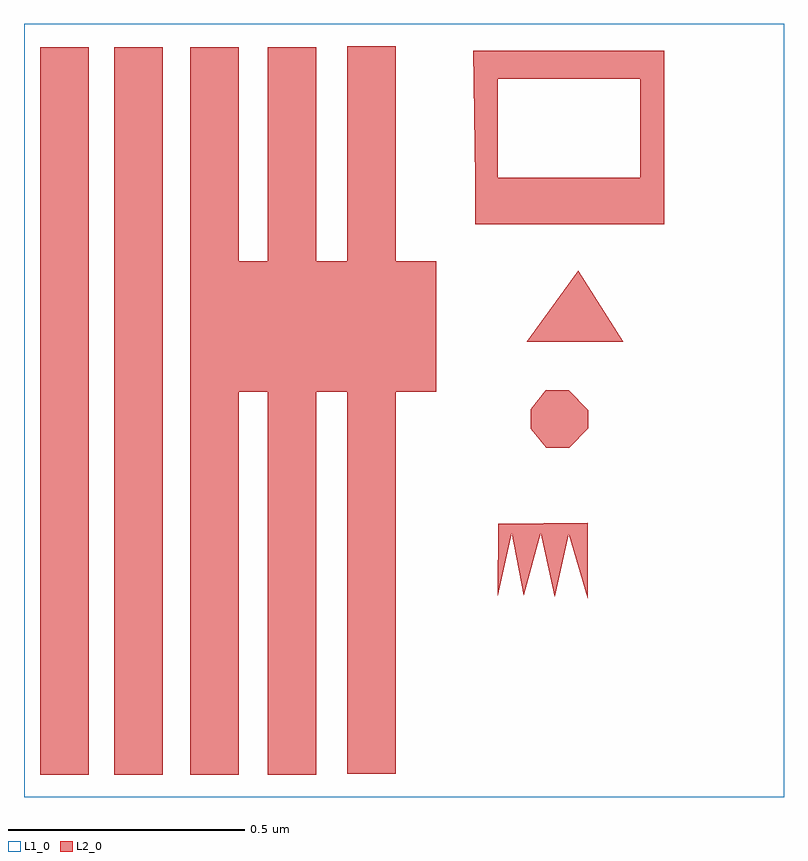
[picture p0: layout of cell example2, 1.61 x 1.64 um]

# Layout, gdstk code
import gdstk
lib = gdstk.Library(unit=1e-6, precision=1e-09)
def R(c, l, rs):  # rectangles x0, y0, x1, y1
    for r in rs: c.add(gdstk.rectangle(r[:2], r[2:], *l))
def P(c, l, *ps):  # polygons
    for p in ps: c.add(gdstk.Polygon(p, *l))
L1_0 = (1, 0)
L2_0 = (2, 0)

example2 = lib.new_cell('example2')
R(example2, L1_0, [(-0.655,-0.861,0.955,0.777)])
R(example2, L2_0, [(-0.621,-0.814,-0.518,0.727), (-0.464,-0.814,-0.361,0.727), (-0.303,-0.814,-0.2,0.727), (-0.139,-0.814,-0.036,0.727), (0.03,-0.811,0.133,0.73), (-0.248,-0.002,0.218,0.274)])
P(example2, L2_0, [(0.301,0.353),(0.301,0.451),(0.65,0.451),(0.65,0.661),(0.349,0.661),(0.349,0.451),(0.301,0.451),(0.297,0.72),(0.701,0.72),(0.701,0.353)],
  [(0.451,-0.121),(0.419,-0.081),(0.419,-0.039),(0.45,0.001),(0.499,0.001),(0.54,-0.041),(0.54,-0.08),(0.5,-0.121)],
  [(0.41,0.104),(0.519,0.254),(0.614,0.104)],
  [(0.539,-0.44),(0.499,-0.303),(0.469,-0.437),(0.44,-0.301),(0.404,-0.433),(0.378,-0.301),(0.349,-0.434),(0.35,-0.282),(0.352,-0.282),(0.539,-0.28)])

lib.write_gds('example2.gds')
